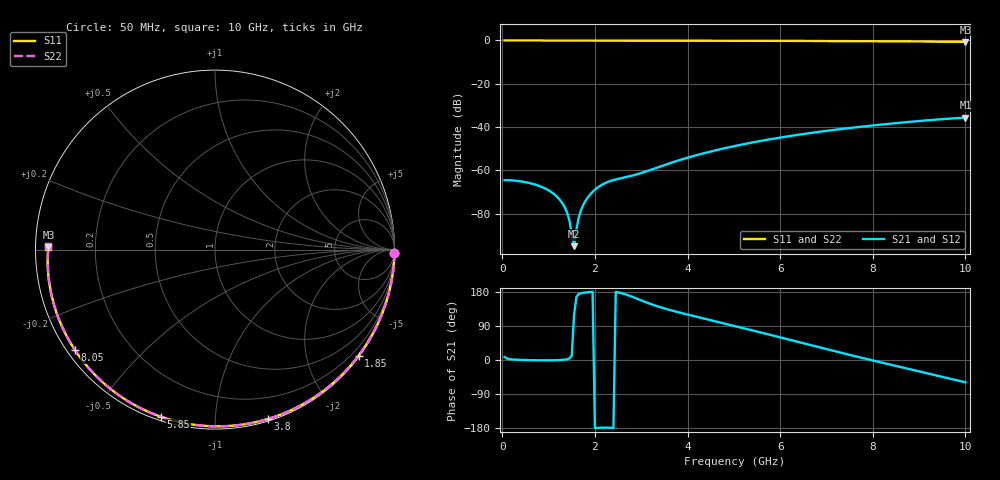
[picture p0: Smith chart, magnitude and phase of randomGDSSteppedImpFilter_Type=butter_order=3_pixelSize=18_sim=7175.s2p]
! freq	dB(S11)	phase(S11)	dB(S12)	phase(S12)
!  dB(S21)	phase(S21)	dB(S22)	phase(S22)
!S-par simulation data
#  GHz  S  DB  R 50
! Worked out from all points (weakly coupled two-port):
!   200 points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, 50 MHz to 10 GHz, reference 50 ohm
!   highest |S21| = -35.64 dB at 10 GHz (marker M1); lowest = -95.1 dB at 1.55 GHz (marker M2)
!   lowest |S11| = -0.6 dB at 10 GHz (marker M3), VSWR 26.86, Z = 1.86 + j0.39 ohm
!   |S11| at or under -10 dB: nowhere
!   |S22| runs from -0.6 to 0.0 dB; largest |S21 - S12| = 0
!   S11 on the Smith chart (normalised r, x): 50 MHz: open; 1.85 GHz: 0.03, -3.04; 3.8 GHz: 0.02, -1.36; 5.85 GHz: 0.02, -0.73; 8.05 GHz: 0.02, -0.32; 10 GHz: 0.04, +0.01
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0.05  -0.00 -1.0  -64.62 8.0  -64.62 8.0  -0.00 -1.0
0.5  -0.01 -10.0  -65.50 -0.1  -65.50 -0.1  -0.01 -10.0
0.9  -0.02 -17.9  -68.17 -0.9  -68.17 -0.9  -0.02 -17.9
1.2  -0.03 -23.8  -72.65 -0.4  -72.65 -0.4  -0.03 -23.8
1.3  -0.03 -25.8  -75.35 0.3  -75.35 0.3  -0.03 -25.8
1.4  -0.03 -27.7  -79.64 1.9  -79.64 1.9  -0.03 -27.7
1.55  -0.04 -30.6  -95.08 118.9  -95.08 118.9  -0.04 -30.7
1.65  -0.04 -32.6  -81.86 174.1  -81.86 174.1  -0.04 -32.6
1.7  -0.04 -33.5  -78.43 176.2  -78.43 176.2  -0.04 -33.6
1.75  -0.04 -34.5  -75.96 177.4  -75.96 177.4  -0.04 -34.5
1.85  -0.05 -36.4  -72.44 178.9  -72.44 178.9  -0.05 -36.4
2.05  -0.05 -40.2  -68.13 -179.1  -68.13 -179.1  -0.05 -40.3
2.25  -0.06 -44.0  -65.65 -178.4  -65.65 -178.4  -0.06 -44.1
3.4  -0.09 -65.4  -58.32 139.7  -58.32 139.7  -0.09 -65.5
3.8  -0.10 -72.6  -55.47 126.1  -55.47 126.1  -0.10 -72.7
5.05  -0.15 -94.4  -48.65 88.8  -48.65 88.8  -0.15 -94.5
5.85  -0.19 -107.8  -45.42 64.2  -45.42 64.2  -0.19 -108.0
6.7  -0.24 -121.9  -42.63 37.7  -42.63 37.7  -0.24 -122.1
8.05  -0.35 -144.3  -39.18 -2.7  -39.18 -2.7  -0.35 -144.5
8.35  -0.38 -149.4  -38.52 -11.4  -38.52 -11.4  -0.38 -149.6
9.25  -0.49 -165.4  -36.78 -37.2  -36.78 -37.2  -0.49 -165.6
10  -0.65 179.1  -35.64 -58.9  -35.64 -58.9  -0.65 178.8
